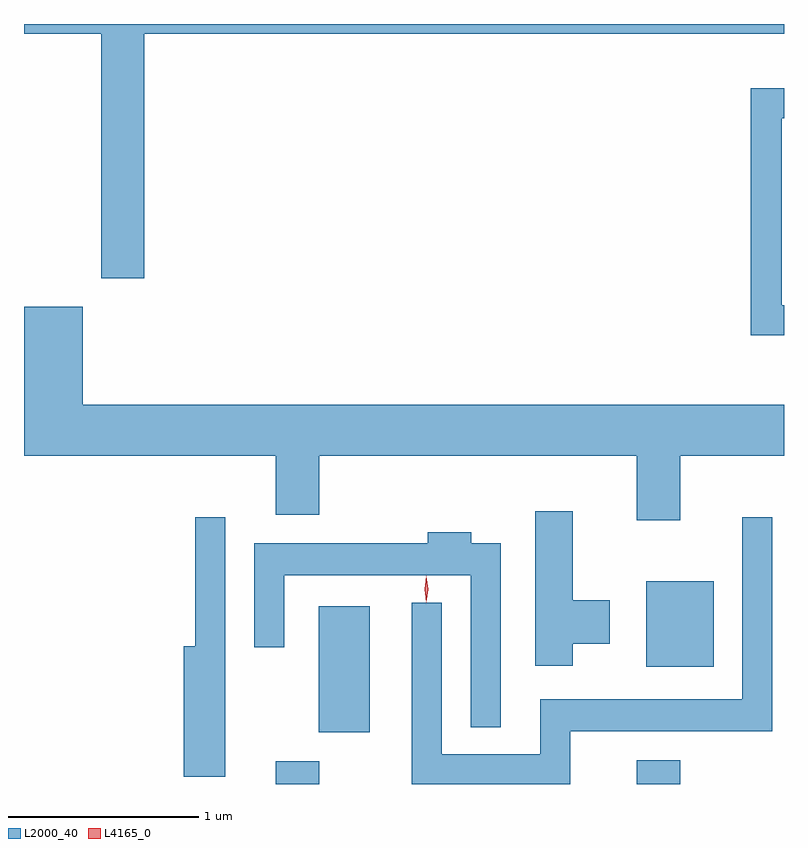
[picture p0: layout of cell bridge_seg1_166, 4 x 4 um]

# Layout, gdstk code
import gdstk
lib = gdstk.Library(unit=1e-6, precision=1e-09)
def R(c, l, rs):  # rectangles x0, y0, x1, y1
    for r in rs: c.add(gdstk.rectangle(r[:2], r[2:], *l))
def P(c, l, *ps):  # polygons
    for p in ps: c.add(gdstk.Polygon(p, *l))
L2000_40 = (2000, 40)
L4165_0 = (4165, 0)

bridge_seg1_166 = lib.new_cell('bridge_seg1_166')
R(bridge_seg1_166, L2000_40, [(767.821,946.688,768.049,946.809), (769.721,946.688,769.949,946.814), (768.046,946.961,768.314,947.624), (769.771,947.306,770.124,947.754)])
P(bridge_seg1_166, L2000_40, [(767.129,950.636),(770.495,950.636),(770.495,950.688),(766.495,950.688),(766.495,950.636),(766.901,950.636),(766.901,949.351),(767.129,949.351)],
  [(770.495,949.209),(770.484,949.209),(770.484,950.191),(770.495,950.191),(770.495,950.349),(770.321,950.349),(770.321,949.051),(770.495,949.051)],
  [(769.949,948.416),(770.495,948.416),(770.495,948.684),(766.804,948.684),(766.804,949.199),(766.495,949.199),(766.495,948.416),(767.821,948.416),(767.821,948.106),(768.049,948.106),(768.049,948.416),(769.721,948.416),(769.721,948.076),(769.949,948.076)],
  [(769.384,947.426),(769.579,947.426),(769.579,947.654),(769.384,947.654),(769.384,948.124),(769.186,948.124),(769.186,947.311),(769.384,947.311)],
  [(767.554,948.093),(767.396,948.093),(767.396,947.414),(767.336,947.414),(767.336,946.726),(767.554,946.726)],
  [(769.369,946.966),(770.434,946.966),(770.434,948.093),(770.276,948.093),(770.276,947.134),(769.211,947.134),(769.211,946.844),(768.694,946.844),(768.694,947.643),(768.536,947.643),(768.536,946.688),(769.369,946.688)],
  [(769.004,947.954),(768.849,947.954),(768.849,948.014),(768.621,948.014),(768.621,947.954),(767.706,947.954),(767.706,947.408),(767.864,947.408),(767.864,947.786),(768.846,947.786),(768.846,946.988),(769.004,946.988)])
P(bridge_seg1_166, L4165_0, [(768.613,947.643),(768.612,947.644),(768.603,947.713),(768.612,947.782),(768.613,947.783),(768.613,947.782),(768.623,947.713),(768.613,947.644)],
  [(768.612,947.647),(768.603,947.714),(768.612,947.78),(768.612,947.78),(768.613,947.78),(768.622,947.714),(768.613,947.647),(768.613,947.647)])

lib.write_gds('bridge_seg1_166.gds')
